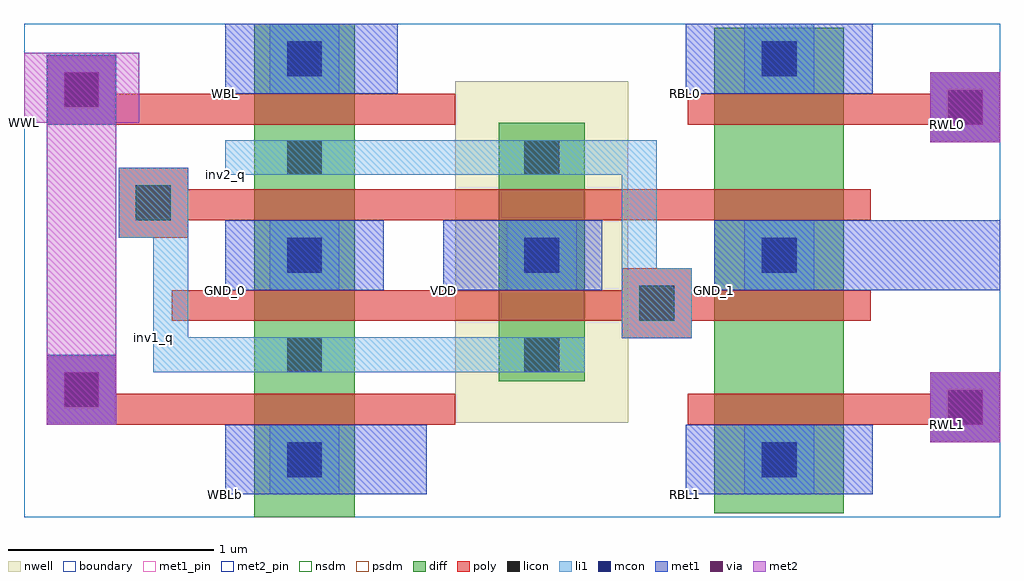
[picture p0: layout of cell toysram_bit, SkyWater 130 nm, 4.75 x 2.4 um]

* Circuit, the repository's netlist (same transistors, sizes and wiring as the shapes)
* NGSPICE file created from toysram_bit.ext - technology: sky130A

.subckt toysram_bit WBL inv2_q GND_0 VDD GND_1 inv1_q WWL WBLb RBL0 RBL1 RWL0 RWL1
X0 inv2_q inv1_q VDD w_420_92# sky130_fd_pr__pfet_01v8 ad=0.137 pd=1.49 as=0.0714 ps=0.76 w=0.42 l=0.15
X1 inv2_q inv1_q GND_0 VSUBS sky130_fd_pr__nfet_01v8 ad=0.0772 pd=0.805 as=0.0833 ps=0.83 w=0.49 l=0.15
X2 a_672_120# RWL1 RBL1 VSUBS sky130_fd_pr__nfet_01v8 ad=0.112 pd=0.985 as=0.271 ps=2.12 w=0.63 l=0.15
X3 inv1_q WWL WBLb VSUBS sky130_fd_pr__nfet_01v8 ad=0.087 pd=0.845 as=0.221 ps=1.88 w=0.49 l=0.15
X4 VDD inv2_q inv1_q w_420_92# sky130_fd_pr__pfet_01v8 ad=0.0714 pd=0.76 as=0.124 ps=1.43 w=0.42 l=0.15
X5 a_672_319# inv1_q GND_1 VSUBS sky130_fd_pr__nfet_01v8 ad=0.0992 pd=0.945 as=0.107 ps=0.97 w=0.63 l=0.15
X6 GND_0 inv2_q inv1_q VSUBS sky130_fd_pr__nfet_01v8 ad=0.0833 pd=0.83 as=0.087 ps=0.845 w=0.49 l=0.15
X7 WBL WWL inv2_q VSUBS sky130_fd_pr__nfet_01v8 ad=0.167 pd=1.66 as=0.0772 ps=0.805 w=0.49 l=0.15
X8 GND_1 inv2_q a_672_120# VSUBS sky130_fd_pr__nfet_01v8 ad=0.107 pd=0.97 as=0.112 ps=0.985 w=0.63 l=0.15
X9 RBL0 RWL0 a_672_319# VSUBS sky130_fd_pr__nfet_01v8 ad=0.202 pd=1.9 as=0.0992 ps=0.945 w=0.63 l=0.15
.ends

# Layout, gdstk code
import gdstk
lib = gdstk.Library(unit=1e-6, precision=1e-09)
def R(c, l, rs):  # rectangles x0, y0, x1, y1
    for r in rs: c.add(gdstk.rectangle(r[:2], r[2:], *l))
def A(c, l, x, y, w, h, nx, ny, dx, dy):  # array of equal rectangles
    R(c, l, [(x+i*dx, y+j*dy, x+i*dx+w, y+j*dy+h) for i in range(nx) for j in range(ny)])
nwell = (64, 20)
diff = (65, 20)
poly = (66, 20)
licon = (66, 44)
li1 = (67, 20)
mcon = (67, 44)
met1_pin = (68, 16)
met1 = (68, 20)
via = (68, 44)
met2_pin = (69, 16)
met2 = (69, 20)
nsdm = (93, 44)
psdm = (94, 20)
boundary = (235, 4)

toysram_bit = lib.new_cell('toysram_bit')
R(toysram_bit, nwell, [(2.1,0.46,2.94,2.12)])
R(toysram_bit, diff, [(1.12,0,1.61,2.4), (3.36,0.018,3.99,2.382), (2.31,0.66,2.73,1.92)])
R(toysram_bit, poly, [(4.41,0.365,4.75,0.705), (0.11,0.45,0.45,0.79), (0.45,0.45,2.1,0.6), (3.23,0.45,4.75,0.6), (2.91,0.87,3.25,1.21), (0.72,0.955,4.12,1.105), (0.46,1.36,0.8,1.7), (0.72,1.445,4.12,1.595), (4.41,1.825,4.75,2.165), (0.11,1.91,0.45,2.25), (0.42,1.91,2.1,2.06), (3.23,1.91,4.75,2.06)])
A(toysram_bit, licon, 1.28, 1.19, 0.17, 0.17, 3, 1, 1.155, 0)
R(toysram_bit, licon, [(1.28,0.195,1.45,0.365), (3.59,0.195,3.76,0.365), (4.495,0.45,4.665,0.62), (0.195,0.535,0.365,0.705), (1.28,0.705,1.45,0.875), (2.435,0.705,2.605,0.875), (2.995,0.955,3.165,1.125), (0.545,1.445,0.715,1.615), (1.28,1.665,1.45,1.835), (2.435,1.665,2.605,1.835), (4.495,1.91,4.665,2.08), (0.195,1.995,0.365,2.165), (1.28,2.145,1.45,2.315), (3.59,2.145,3.76,2.315)])
A(toysram_bit, li1, 1.195, 1.105, 0.34, 0.34, 3, 1, 1.155, 0)
R(toysram_bit, li1, [(1.195,0.11,1.535,0.45), (3.505,0.11,3.845,0.45), (4.41,0.365,4.75,0.705), (0.11,0.45,0.45,0.79), (0.63,0.705,2.73,0.875), (1.28,0.705,1.45,0.875), (2.435,0.705,2.605,0.875), (2.91,0.87,3.25,1.21), (0.63,0.875,0.8,1.545), (2.91,0.965,3.08,1.665), (0.46,1.36,0.8,1.7), (0.98,1.665,3.08,1.835), (1.28,1.665,1.45,1.835), (2.435,1.665,2.605,1.835), (4.41,1.825,4.75,2.165), (0.11,1.91,0.45,2.25), (1.195,2.06,1.535,2.4), (3.505,2.06,3.845,2.4)])
A(toysram_bit, mcon, 1.28, 1.19, 0.17, 0.17, 3, 1, 1.155, 0)
R(toysram_bit, mcon, [(1.28,0.195,1.45,0.365), (3.59,0.195,3.76,0.365), (4.495,0.45,4.665,0.62), (0.195,0.535,0.365,0.705), (4.495,1.91,4.665,2.08), (0.195,1.995,0.365,2.165), (1.28,2.145,1.45,2.315), (3.59,2.145,3.76,2.315)])
A(toysram_bit, met1_pin, 1.28, 1.19, 0.17, 0.17, 3, 1, 1.155, 0)
R(toysram_bit, met1_pin, [(1.28,0.195,1.45,0.365), (3.59,0.195,3.76,0.365), (1.28,2.145,1.45,2.315), (3.59,2.145,3.76,2.315)])
A(toysram_bit, met1, 1.195, 1.105, 0.34, 0.34, 3, 1, 1.155, 0)
R(toysram_bit, met1, [(0.98,0.11,1.96,0.45), (1.195,0.11,1.535,0.45), (3.22,0.11,4.13,0.45), (3.505,0.11,3.845,0.45), (4.41,0.365,4.75,0.705), (0.11,0.45,0.45,0.79), (0.98,1.105,1.752,1.445), (2.041,1.105,2.814,1.445), (3.36,1.105,4.75,1.445), (4.41,1.825,4.75,2.165), (0.11,1.91,0.45,2.25), (0.98,2.06,1.82,2.4), (1.195,2.06,1.535,2.4), (3.22,2.06,4.13,2.4), (3.505,2.06,3.845,2.4)])
R(toysram_bit, via, [(4.495,0.45,4.665,0.62), (0.195,0.535,0.365,0.705), (4.495,1.91,4.665,2.08), (0.195,1.995,0.365,2.165)])
R(toysram_bit, met2_pin, [(4.495,0.45,4.665,0.62), (4.495,1.91,4.665,2.08), (0.195,1.995,0.365,2.165)])
R(toysram_bit, met2, [(4.41,0.365,4.75,0.705), (0.11,0.45,0.45,1.92), (0.11,0.45,0.45,0.79), (4.41,1.825,4.75,2.165), (0.11,1.91,0.45,2.25), (0,1.92,0.56,2.26)])
R(toysram_bit, nsdm, [(1.12,0,1.61,2.4), (3.36,0.018,3.99,2.382)])
R(toysram_bit, psdm, [(2.31,0.66,2.73,1.92)])
R(toysram_bit, boundary, [(0,0,4.75,2.4)])
toysram_bit.add(gdstk.Label('WBL', (0.98,2.06), layer=68, texttype=5))
toysram_bit.add(gdstk.Label('inv2_q', (0.98,1.665), layer=67, texttype=16))
toysram_bit.add(gdstk.Label('GND_0', (0.98,1.105), layer=68, texttype=5))
toysram_bit.add(gdstk.Label('VDD', (2.041,1.105), layer=68, texttype=5))
toysram_bit.add(gdstk.Label('GND_1', (3.36,1.105), layer=68, texttype=5))
toysram_bit.add(gdstk.Label('inv1_q', (0.63,0.875), layer=67, texttype=16))
toysram_bit.add(gdstk.Label('WWL', (0,1.92), layer=69, texttype=5))
toysram_bit.add(gdstk.Label('WBLb', (0.98,0.11), layer=68, texttype=5))
toysram_bit.add(gdstk.Label('RBL0', (3.22,2.06), layer=68, texttype=5))
toysram_bit.add(gdstk.Label('RBL1', (3.22,0.11), layer=68, texttype=5))
toysram_bit.add(gdstk.Label('RWL0', (4.495,1.91), layer=69, texttype=5))
toysram_bit.add(gdstk.Label('RWL1', (4.495,0.45), layer=69, texttype=5))

lib.write_gds('toysram_bit.gds')
